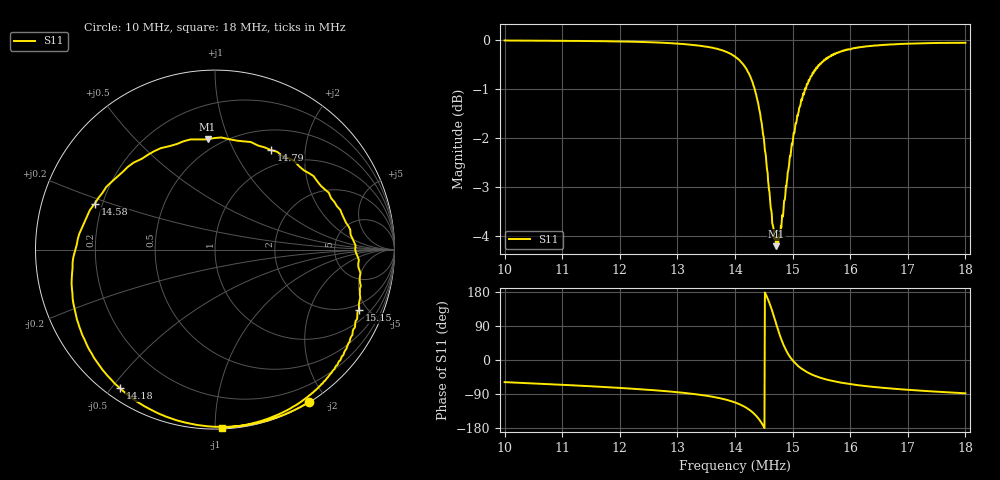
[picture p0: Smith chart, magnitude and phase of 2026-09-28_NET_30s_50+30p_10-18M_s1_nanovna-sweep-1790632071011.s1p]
! NanoVNA Web complex sweep
! Processing: unaveraged complex samples; linear segment spacing; no smoothing
# Hz S RI R 50
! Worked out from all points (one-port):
!   1010 points, 10 MHz to 18 MHz, reference 50 ohm
!   lowest |S11| = -4.2 dB at 14.72 MHz (marker M1), VSWR 4.20, Z = 21.2 + j42 ohm
!   |S11| at or under -10 dB: nowhere
!   S11 on the Smith chart (normalised r, x): 10 MHz: 0.00, -1.79; 14.18 MHz: 0.04, -0.53; 14.58 MHz: 0.17, +0.18; 14.79 MHz: 0.76, +1.42; 15.15 MHz: 1.61, -4.42; 18 MHz: 0.01, -1.04
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1e7  0.5228 -0.8501
1.100698e7  0.4138 -0.9072
1.200604e7  0.2796 -0.9555
1.300509e7  0.0849 -0.987
1.359184e7  -0.1108 -0.9753
1.400414e7  -0.3626 -0.8891
1.417858e7  -0.5294 -0.7729
1.428959e7  -0.6546 -0.6309
1.438474e7  -0.7554 -0.4315
1.444024e7  -0.7932 -0.2709
1.449574e7  -0.7933 -0.0707
1.453539e7  -0.7564 0.0873
1.457503e7  -0.67 0.2559
1.461468e7  -0.5447 0.4059
1.465432e7  -0.3739 0.5281
1.471776e7  -0.0415 0.614
1.478912e7  0.3114 0.5545
1.483669e7  0.4952 0.4416
1.488426e7  0.634 0.317
1.493977e7  0.7298 0.15
1.50032e7  0.7868 -0.0212
1.515385e7  0.8019 -0.3354
1.531243e7  0.7334 -0.5495
1.547894e7  0.6484 -0.688
1.570095e7  0.5455 -0.7974
1.600225e7  0.4339 -0.8756
1.700131e7  0.1955 -0.9709
1.800036e7  0.0368 -0.9918
